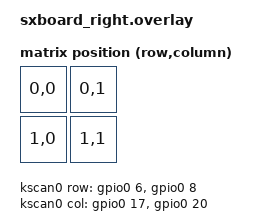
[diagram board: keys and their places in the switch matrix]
/*
 * 2x2 键盘矩阵配置
 * 行: 0.06, 0.08
 * 列: 0.17, 0.20
 */

#include <dt-bindings/zmk/matrix_transform.h>

/ {
    chosen {
        zmk,kscan = &kscan0;
        zmk,matrix_transform = &default_transform;
    };

    default_transform: keymap_transform_0 {
        compatible = "zmk,matrix-transform";
        rows = <2>;
        columns = <2>;
        
        // 2x2 矩阵映射
        map = <
            RC(0,0) RC(0,1)
            RC(1,0) RC(1,1)
        >;
    };

    kscan0: kscan {
        compatible = "zmk,kscan-gpio-matrix";
        label = "KSCAN";
        
        diode-direction = "col2row";
        
        // 行 GPIO 配置 (2行)
        row-gpios
            = <&gpio0 6 (GPIO_ACTIVE_HIGH | GPIO_PULL_DOWN)>  // 行0: 0.06
            , <&gpio0 8 (GPIO_ACTIVE_HIGH | GPIO_PULL_DOWN)>  // 行1: 0.08
            ;
        
        // 列 GPIO 配置 (2列)
        col-gpios
            = <&gpio0 17 GPIO_ACTIVE_HIGH>  // 列0: 0.17
            , <&gpio0 20 GPIO_ACTIVE_HIGH>  // 列1: 0.20
            ;
    };
};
